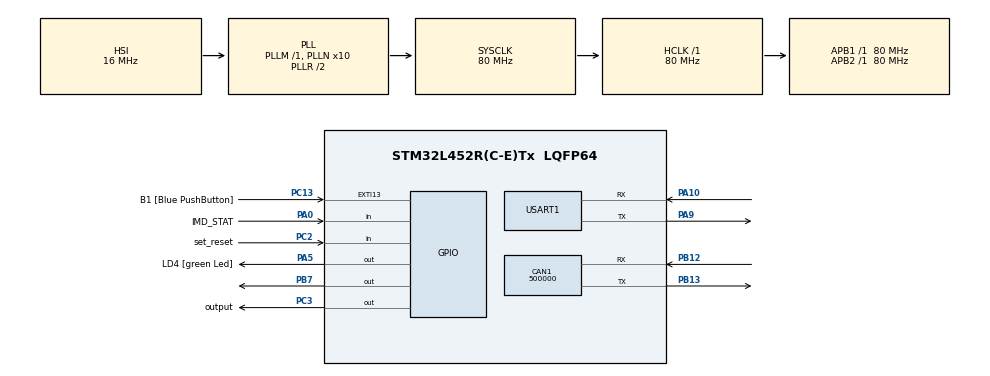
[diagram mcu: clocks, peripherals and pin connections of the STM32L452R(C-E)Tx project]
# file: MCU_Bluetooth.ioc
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CAN1.BS1=CAN_BS1_4TQ
CAN1.BS2=CAN_BS2_5TQ
CAN1.CalculateBaudRate=500000
CAN1.CalculateTimeBit=2000
CAN1.CalculateTimeQuantum=200.0
Mcu.Family=STM32L4
Mcu.Name=STM32L452R(C-E)Tx
Mcu.Package=LQFP64
NVIC.CAN1_RX0_IRQn=true\:0\:0\:false\:false\:true\:true\:true\:true
NVIC.CAN1_RX1_IRQn=true\:0\:0\:false\:false\:true\:true\:true\:true
NVIC.PriorityGroup=NVIC_PRIORITYGROUP_4
NVIC.TIM2_IRQn=true\:0\:0\:false\:false\:true\:true\:true\:true
PA0.GPIO_Label=IMD_STAT
PA0.GPIO_PuPd=GPIO_PULLDOWN
PA0.Signal=GPIO_Input
PA10.Mode=Asynchronous
PA10.Signal=USART1_RX
PA13\ (JTMS/SWDIO).Mode=Serial_Wire
PA13\ (JTMS/SWDIO).Signal=SYS_JTMS-SWDIO
PA14\ (JTCK/SWCLK).Mode=Serial_Wire
PA14\ (JTCK/SWCLK).Signal=SYS_JTCK-SWCLK
PA3.GPIO_Label=USART_RX
PA3.GPIO_Mode=GPIO_MODE_AF_PP
PA3.GPIO_PuPd=GPIO_NOPULL
PA3.GPIO_Speed=GPIO_SPEED_FREQ_VERY_HIGH
PA3.Signal=USART2_RX
PA5.GPIO_Label=LD4 [green Led]
PA5.GPIO_ModeDefaultOutputPP=GPIO_MODE_OUTPUT_PP
PA5.GPIO_PuPd=GPIO_NOPULL
PA5.GPIO_Speed=GPIO_SPEED_FREQ_LOW
PA5.Signal=GPIO_Output
PA9.Mode=Asynchronous
PA9.Signal=USART1_TX
PB12.Mode=CAN_Activate
PB12.Signal=CAN1_RX
PB13.Mode=CAN_Activate
PB13.Signal=CAN1_TX
PB7.Signal=GPIO_Output
PC13.GPIO_Label=B1 [Blue PushButton]
PC13.GPIO_ModeDefaultEXTI=GPIO_MODE_IT_FALLING
PC13.GPIO_PuPd=GPIO_NOPULL
PC13.Signal=GPXTI13
PC14-OSC32_IN\ (PC14).Mode=LSE-External-Oscillator
PC14-OSC32_IN\ (PC14).Signal=RCC_OSC32_IN
PC15-OSC32_OUT\ (PC15).Mode=LSE-External-Oscillator
PC15-OSC32_OUT\ (PC15).Signal=RCC_OSC32_OUT
PC2.GPIO_Label=set_reset
PC2.GPIO_PuPd=GPIO_NOPULL
PC2.Signal=GPIO_Input
PC3.GPIO_Label=output
PC3.GPIO_PuPd=GPIO_PULLDOWN
PC3.Signal=GPIO_Output
PH0-OSC_IN\ (PH0).Mode=HSE-External-Oscillator
PH0-OSC_IN\ (PH0).Signal=RCC_OSC_IN
PH1-OSC_OUT\ (PH1).Mode=HSE-External-Oscillator
PH1-OSC_OUT\ (PH1).Signal=RCC_OSC_OUT
ProjectManager.HeapSize=0x200
ProjectManager.StackSize=0x400
ProjectManager.TargetToolchain=STM32CubeIDE
RCC.ADCFreq_Value=64000000
RCC.AHBFreq_Value=80000000
RCC.APB1Freq_Value=80000000
RCC.APB1TimFreq_Value=80000000
RCC.APB2Freq_Value=80000000
RCC.APB2TimFreq_Value=80000000
RCC.CortexFreq_Value=80000000
RCC.HCLKFreq_Value=80000000
RCC.HSE_VALUE=8000000
RCC.HSI48_VALUE=48000000
RCC.HSI_VALUE=16000000
RCC.MSI_VALUE=4000000
RCC.PLLN=10
RCC.PLLSourceVirtual=RCC_PLLSOURCE_HSI
RCC.PREFETCH_ENABLE=1
RCC.SYSCLKFreq_VALUE=80000000
RCC.SYSCLKSource=RCC_SYSCLKSOURCE_PLLCLK
RCC.USBFreq_Value=64000000
RCC.VCOOutputFreq_Value=160000000
TIM2.Period=999
TIM2.Prescaler=1999
USART1.VirtualMode-Asynchronous=VM_ASYNC
VP_TIM2_VS_ClockSourceINT.Mode=Internal
board=NUCLEO-L452RE

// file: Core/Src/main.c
/* USER CODE BEGIN Header */
/**
 ******************************************************************************
 * @file           : main.c
 * @brief          : Main program body
 ******************************************************************************
 * @attention
 *
 * Copyright (c) 2023 STMicroelectronics.
 * All rights reserved.
 *
 * This software is licensed under terms that can be found in the LICENSE file
 * in the root directory of this software component.
 * If no LICENSE file comes with this software, it is provided AS-IS.
 *
 ******************************************************************************
 */
/* USER CODE END Header */
#include "main.h"
#include "can.h"
#include "tim.h"
#include "usart.h"
#include "gpio.h"

/* USER CODE BEGIN Includes */
#include "can_it.h"

/* USER CODE END Includes */

/* USER CODE BEGIN PTD */

extern UART_HandleTypeDef huart1;
extern CAN_RxHeaderTypeDef CAN_RXH;

/* USER CODE END PTD */

/* USER CODE BEGIN PD */
#define BUFFER_LEN 88
/* USER CODE END PD */

/* USER CODE BEGIN PV */
extern uint8_t BMSData_1[8];
extern uint8_t BMSData_2[8];
extern uint8_t BMSData_3[8];
extern uint8_t BrakePData[8];
extern uint8_t GyroData[8];
extern uint8_t TxData[8];
extern uint8_t test_count;
uint8_t TX_BUFFER[BUFFER_LEN] = {0};
uint32_t TX_count = 0;
int users_count = 0;
int set_state = 0;
int imd_state = 0;

uint8_t RTDS_count , Current_VSM_State = 0;
/* USER CODE END PV */

void SystemClock_Config(void);

int main(void)
{

  /* MCU Configuration--------------------------------------------------------*/

  /* Reset of all peripherals, Initializes the Flash interface and the Systick. */
  HAL_Init();

  /* Configure the system clock */
  SystemClock_Config();

  /* Initialize all configured peripherals */
  MX_GPIO_Init();
  MX_CAN1_Init();
  MX_USART1_UART_Init();
  MX_TIM2_Init();
  /* USER CODE BEGIN 2 */

	CAN_RX_Header_defunc();
	CAN_TX_Header_defunc();
	CAN_Error_Handler();
	HAL_TIM_Base_Start_IT(&htim2);

  /* USER CODE END 2 */

  /* Infinite loop */
  /* USER CODE BEGIN WHILE */
	while (1)
	{
		/*if(HAL_GPIO_ReadPin(set_reset_GPIO_Port, set_reset_Pin) == 1)
		{
			set_state = 1;
			imd_state = 0;
			HAL_GPIO_WritePin(output_GPIO_Port, output_Pin, 0);
		}
		if(HAL_GPIO_ReadPin(IMD_STAT_GPIO_Port, IMD_STAT_Pin) == 1)
		{
			imd_state = 1;
		}
		if(set_state == 1 && imd_state == 1)
		{
			set_state = 0;
			HAL_GPIO_WritePin(output_GPIO_Port, output_Pin, 1);
		}*/
    /* USER CODE END WHILE */

     }
}

void SystemClock_Config(void)
{
  RCC_OscInitTypeDef RCC_OscInitStruct = {0};
  RCC_ClkInitTypeDef RCC_ClkInitStruct = {0};

  /** Configure the main internal regulator output voltage
  */
  if (HAL_PWREx_ControlVoltageScaling(PWR_REGULATOR_VOLTAGE_SCALE1) != HAL_OK)
  {
    Error_Handler();
  }

  /** Initializes the RCC Oscillators according to the specified parameters
  * in the RCC_OscInitTypeDef structure.
  */
  RCC_OscInitStruct.OscillatorType = RCC_OSCILLATORTYPE_HSI;
  RCC_OscInitStruct.HSIState = RCC_HSI_ON;
  RCC_OscInitStruct.HSICalibrationValue = RCC_HSICALIBRATION_DEFAULT;
  RCC_OscInitStruct.PLL.PLLState = RCC_PLL_ON;
  RCC_OscInitStruct.PLL.PLLSource = RCC_PLLSOURCE_HSI;
  RCC_OscInitStruct.PLL.PLLM = 1;
  RCC_OscInitStruct.PLL.PLLN = 10;
  RCC_OscInitStruct.PLL.PLLP = RCC_PLLP_DIV7;
  RCC_OscInitStruct.PLL.PLLQ = RCC_PLLQ_DIV2;
  RCC_OscInitStruct.PLL.PLLR = RCC_PLLR_DIV2;
  if (HAL_RCC_OscConfig(&RCC_OscInitStruct) != HAL_OK)
  {
    Error_Handler();
  }

  /** Initializes the CPU, AHB and APB buses clocks
  */
  RCC_ClkInitStruct.ClockType = RCC_CLOCKTYPE_HCLK|RCC_CLOCKTYPE_SYSCLK
                              |RCC_CLOCKTYPE_PCLK1|RCC_CLOCKTYPE_PCLK2;
  RCC_ClkInitStruct.SYSCLKSource = RCC_SYSCLKSOURCE_PLLCLK;
  RCC_ClkInitStruct.AHBCLKDivider = RCC_SYSCLK_DIV1;
  RCC_ClkInitStruct.APB1CLKDivider = RCC_HCLK_DIV1;
  RCC_ClkInitStruct.APB2CLKDivider = RCC_HCLK_DIV1;

  if (HAL_RCC_ClockConfig(&RCC_ClkInitStruct, FLASH_LATENCY_4) != HAL_OK)
  {
    Error_Handler();
  }
}

/* USER CODE BEGIN 4 */

void HAL_TIM_PeriodElapsedCallback(TIM_HandleTypeDef *htim) // bluetooth sending
{
	if(TX_BUFFER[56] == 6 && Current_VSM_State != 6) // rtds code
	{
		HAL_GPIO_WritePin(GPIOB, GPIO_PIN_7, 1);
		RTDS_count++;
		if(RTDS_count > 150){
			HAL_GPIO_WritePin(GPIOB, GPIO_PIN_7, 0);
			Current_VSM_State = 6;
			RTDS_count = 0;
		}

	}
	if(TX_BUFFER[56] != 6 && Current_VSM_State == 6){
		Current_VSM_State = 0;
	}

	users_count++;

	if (htim->Instance == htim2.Instance)
	{
		HAL_UART_Transmit(&huart1, TX_BUFFER, BUFFER_LEN, 100);
		TX_count++;
	}
}
/* USER CODE END 4 */

void Error_Handler(void)
{
	__disable_irq();
	while (1) {
	}
}
